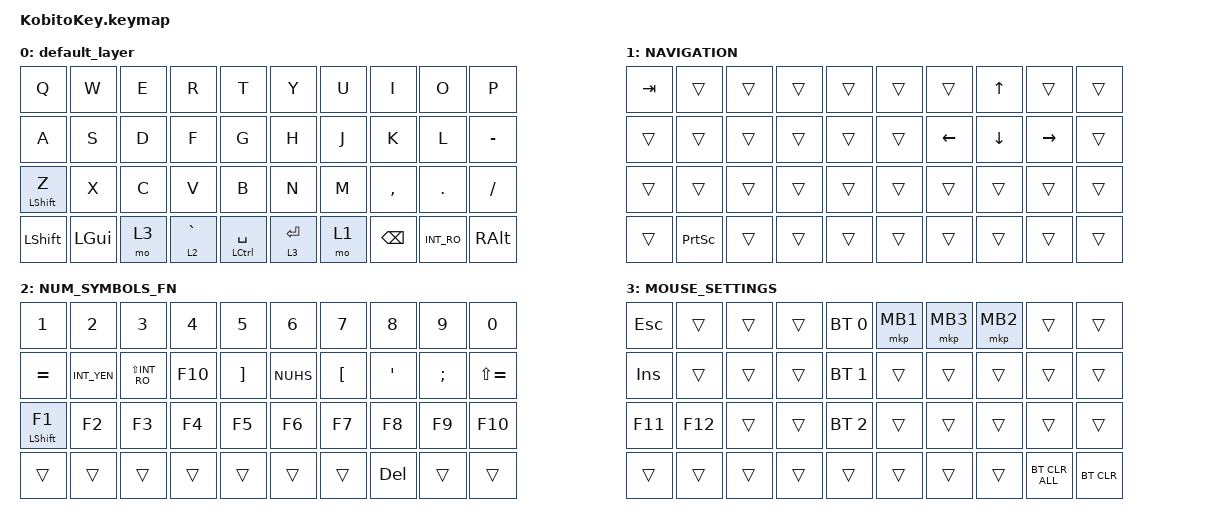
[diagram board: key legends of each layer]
#include <input/processors.dtsi>
#include <behaviors.dtsi>
#include <dt-bindings/zmk/bt.h>
#include <dt-bindings/zmk/keys.h>
#include <dt-bindings/zmk/pointing.h>

/ {
    /* Windows Japanese 106/109 layout. L3 is activated only by held keys. */
    keymap {
        compatible = "zmk,keymap";

        default_layer {
            bindings = <
&kp Q        &kp W     &kp E    &kp R        &kp T            &kp Y        &kp U    &kp I      &kp O       &kp P
&kp A        &kp S     &kp D    &kp F        &kp G            &kp H        &kp J    &kp K      &kp L       &kp MINUS
&mt LSHFT Z  &kp X     &kp C    &kp V        &kp B            &kp N        &kp M    &kp COMMA  &kp DOT     &kp SLASH
&kp LSHFT    &kp LGUI  &mo 3    &lt 2 GRAVE  &mt LCTRL SPACE  &lt 3 ENTER  &mo 1    &kp BSPC   &kp INT_RO  &kp RALT
            >;
        };

        layer1 {
            label = "NAVIGATION";
            bindings = <
&kp TAB  &trans    &trans  &trans  &trans  &trans  &trans    &kp UP    &trans     &trans
&trans   &trans    &trans  &trans  &trans  &trans  &kp LEFT  &kp DOWN  &kp RIGHT  &trans
&trans   &trans    &trans  &trans  &trans  &trans  &trans    &trans    &trans     &trans
&trans   &kp PSCRN &trans  &trans  &trans  &trans  &trans    &trans    &trans     &trans
            >;
        };

        layer2 {
            label = "NUM_SYMBOLS_FN";
            bindings = <
&kp N1        &kp N2       &kp N3          &kp N4   &kp N5    &kp N6    &kp N7    &kp N8    &kp N9    &kp N0
&kp EQUAL     &kp INT_YEN  &kp LS(INT_RO)  &kp F10  &kp RBKT  &kp NUHS  &kp LBKT  &kp APOS  &kp SEMI  &kp LS(EQUAL)
&mt LSHFT F1  &kp F2       &kp F3          &kp F4   &kp F5    &kp F6    &kp F7    &kp F8    &kp F9    &kp F10
&trans        &trans       &trans          &trans   &trans    &trans    &trans    &kp DEL   &trans    &trans
            >;
        };

        layer3 {
            label = "MOUSE_SETTINGS";
            bindings = <
&kp ESC  &trans   &trans  &trans  &bt BT_SEL 0  &mkp MB1  &mkp MB3  &mkp MB2  &trans          &trans
&kp INS  &trans   &trans  &trans  &bt BT_SEL 1  &trans    &trans    &trans    &trans          &trans
&kp F11  &kp F12  &trans  &trans  &bt BT_SEL 2  &trans    &trans    &trans    &trans          &trans
&trans   &trans   &trans  &trans  &trans        &trans    &trans    &trans    &bt BT_CLR_ALL  &bt BT_CLR
            >;
        };
    };
};
